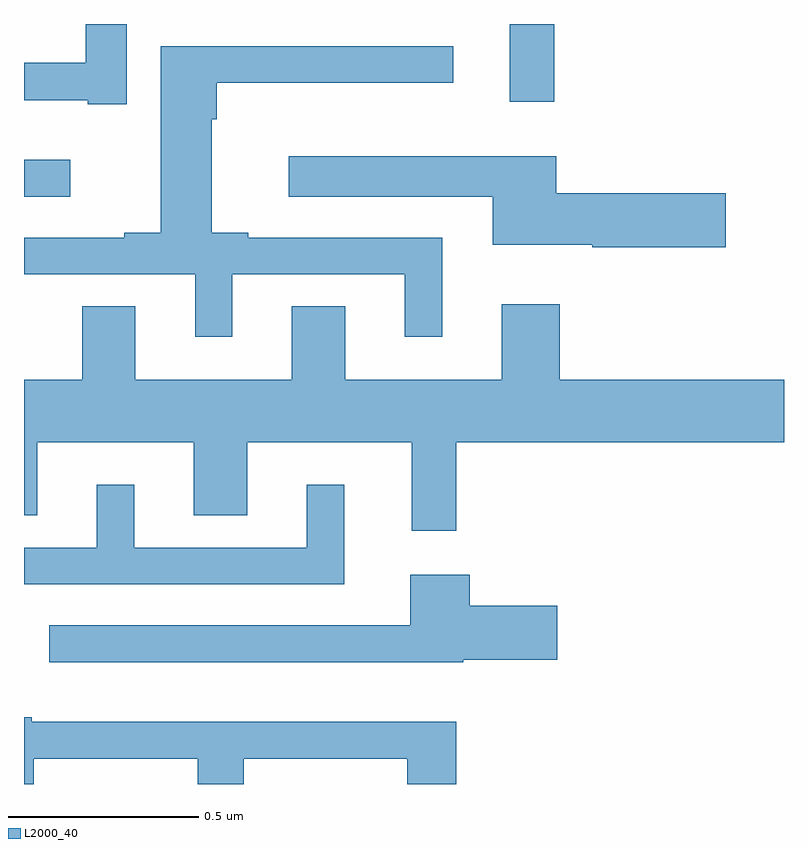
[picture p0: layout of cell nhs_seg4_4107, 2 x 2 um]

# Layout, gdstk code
import gdstk
lib = gdstk.Library(unit=1e-6, precision=1e-09)
def R(c, l, rs):  # rectangles x0, y0, x1, y1
    for r in rs: c.add(gdstk.rectangle(r[:2], r[2:], *l))
def P(c, l, *ps):  # polygons
    for p in ps: c.add(gdstk.Polygon(p, *l))
L2000_40 = (2000, 40)

nhs_seg4_4107 = lib.new_cell('nhs_seg4_4107')
R(nhs_seg4_4107, L2000_40, [(161,817.446,161.122,817.543), (162.278,817.695,162.395,817.9)])
P(nhs_seg4_4107, L2000_40, [(161.271,817.9),(161.163,817.9),(161.163,817.798),(161,817.798),(161,817.7),(161.168,817.7),(161.168,817.689),(161.271,817.689)],
  [(161.548,817.242),(162.002,817.242),(162.002,817.077),(162.1,817.077),(162.1,817.338),(161.59,817.338),(161.59,817.351),(161.494,817.351),(161.494,817.649),(161.507,817.649),(161.507,817.745),(162.13,817.745),(162.13,817.842),(161.36,817.842),(161.36,817.351),(161.264,817.351),(161.264,817.338),(161,817.338),(161,817.242),(161.45,817.242),(161.45,817.077),(161.548,817.077)],
  [(162.847,817.454),(162.4,817.454),(162.4,817.552),(161.697,817.552),(161.697,817.445),(162.233,817.445),(162.233,817.319),(162.496,817.319),(162.496,817.312),(162.847,817.312)],
  [(161.705,817.157),(161.705,816.964),(161.293,816.964),(161.293,817.157),(161.153,817.157),(161.153,816.964),(161,816.964),(161,816.607),(161.035,816.607),(161.035,816.8),(161.447,816.8),(161.447,816.607),(161.587,816.607),(161.587,816.8),(162.02,816.8),(162.02,816.567),(162.137,816.567),(162.137,816.8),(163,816.8),(163,816.964),(162.41,816.964),(162.41,817.162),(162.257,817.162),(162.257,816.964),(161.845,816.964),(161.845,817.157)],
  [(161.843,816.688),(161.744,816.688),(161.744,816.522),(161.29,816.522),(161.29,816.688),(161.192,816.688),(161.192,816.522),(161,816.522),(161,816.426),(161.843,816.426)],
  [(162.156,816.227),(162.403,816.227),(162.403,816.369),(162.173,816.369),(162.173,816.451),(162.017,816.451),(162.017,816.318),(161.067,816.318),(161.067,816.221),(162.156,816.221)],
  [(161.026,815.966),(161.457,815.966),(161.457,815.9),(161.578,815.9),(161.578,815.966),(162.009,815.966),(162.009,815.9),(162.137,815.9),(162.137,816.064),(161.02,816.064),(161.02,816.076),(161,816.076),(161,815.9),(161.026,815.9)])

lib.write_gds('nhs_seg4_4107.gds')
